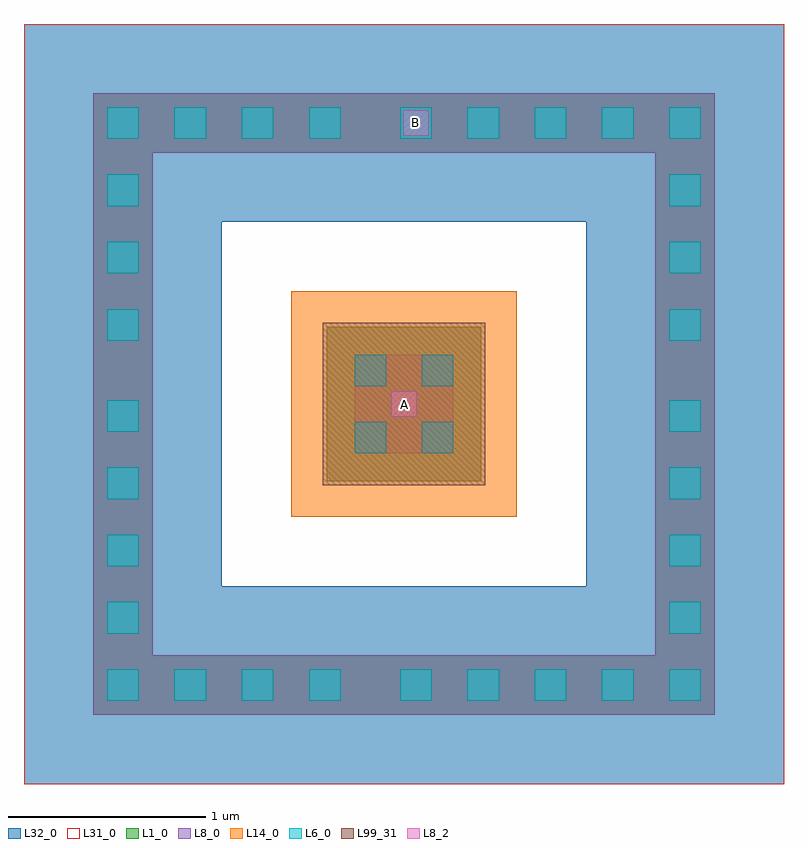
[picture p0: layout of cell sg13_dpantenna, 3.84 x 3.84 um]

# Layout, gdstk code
from math import pi, radians
import gdstk
lib = gdstk.Library(unit=1e-6, precision=5e-09)
def R(c, l, rs):  # rectangles x0, y0, x1, y1
    for r in rs: c.add(gdstk.rectangle(r[:2], r[2:], *l))
def A(c, l, x, y, w, h, nx, ny, dx, dy):  # array of equal rectangles
    R(c, l, [(x+i*dx, y+j*dy, x+i*dx+w, y+j*dy+h) for i in range(nx) for j in range(ny)])
def P(c, l, *ps):  # polygons
    for p in ps: c.add(gdstk.Polygon(p, *l))
L1_0 = (1, 0)
L6_0 = (6, 0)
L8_0 = (8, 0)
L8_2 = (8, 2)
L14_0 = (14, 0)
L31_0 = (31, 0)
L32_0 = (32, 0)
L99_31 = (99, 31)

dpantenna = lib.new_cell('dpantenna')
R(dpantenna, L1_0, [(-1.18,-0.88,-0.88,1.66), (1.66,-0.88,1.96,1.66), (0,0,0.78,0.78), (-1.18,1.66,1.96,1.96)])
P(dpantenna, L1_0, [(-1.18,-1.18),(-1.18,1.66),(-0.88,1.66),(-0.88,-0.88),(1.66,-0.88),(1.66,1.66),(-1.18,1.66),(-1.18,1.96),(1.96,1.96),(1.96,-1.18)])
A(dpantenna, L6_0, -1.11, -1.11, 0.16, 0.16, 4, 2, 0.34, 2.84)
A(dpantenna, L6_0, 0.37, -1.11, 0.16, 0.16, 5, 2, 0.34, 2.84)
A(dpantenna, L6_0, -1.11, -0.77, 0.16, 0.16, 1, 3, 0, 0.34)
A(dpantenna, L6_0, 1.73, -0.77, 0.16, 0.16, 1, 3, 0, 0.34)
A(dpantenna, L6_0, -1.11, 0.37, 0.16, 0.16, 1, 4, 0, 0.34)
A(dpantenna, L6_0, 1.73, 0.37, 0.16, 0.16, 1, 4, 0, 0.34)
R(dpantenna, L6_0, [(0.14,0.14,0.3,0.3), (0.48,0.14,0.64,0.3), (0.14,0.48,0.3,0.64), (0.48,0.48,0.64,0.64)])
R(dpantenna, L8_0, [(-1.18,-1.18,1.96,-0.88), (-1.18,-0.88,-0.88,1.66), (1.66,-0.88,1.96,1.66), (0.14,0.14,0.64,0.64), (0.14,0.14,0.64,0.64), (-1.18,1.66,1.96,1.96)])
R(dpantenna, L14_0, [(-0.18,-0.18,0.96,0.96)])
R(dpantenna, L31_0, [(-1.53,-1.53,2.31,2.31), (-0.31,-0.31,1.09,1.09)])
R(dpantenna, L32_0, [(-1.53,-0.53,-0.53,1.31), (1.31,-0.53,2.31,1.31), (-1.53,1.31,2.31,2.31)])
P(dpantenna, L32_0, [(-1.53,-1.53),(-1.53,1.31),(-0.53,1.31),(-0.53,-0.53),(1.31,-0.53),(1.31,1.31),(-1.53,1.31),(-1.53,2.31),(2.31,2.31),(2.31,-1.53)])
R(dpantenna, L99_31, [(-0.02,-0.02,0.8,0.8)])
dpantenna.add(gdstk.Label('dpant', (0.39,0.39), layer=63, texttype=0))
dpantenna.add(gdstk.Label('well', (0.39,-1.03), layer=63, texttype=0))

sg13_dpantenna = lib.new_cell('sg13_dpantenna')
R(sg13_dpantenna, L8_2, [(1.855,1.855,1.985,1.985), (1.915,3.275,2.045,3.405)])
sg13_dpantenna.add(gdstk.Reference(dpantenna, (1.53,2.31), rotation=3*pi/2))
sg13_dpantenna.add(gdstk.Label('B', (1.98,3.34), layer=8, texttype=25))
sg13_dpantenna.add(gdstk.Label('A', (1.92,1.92), layer=8, texttype=25))

lib.write_gds('sg13_dpantenna.gds')
